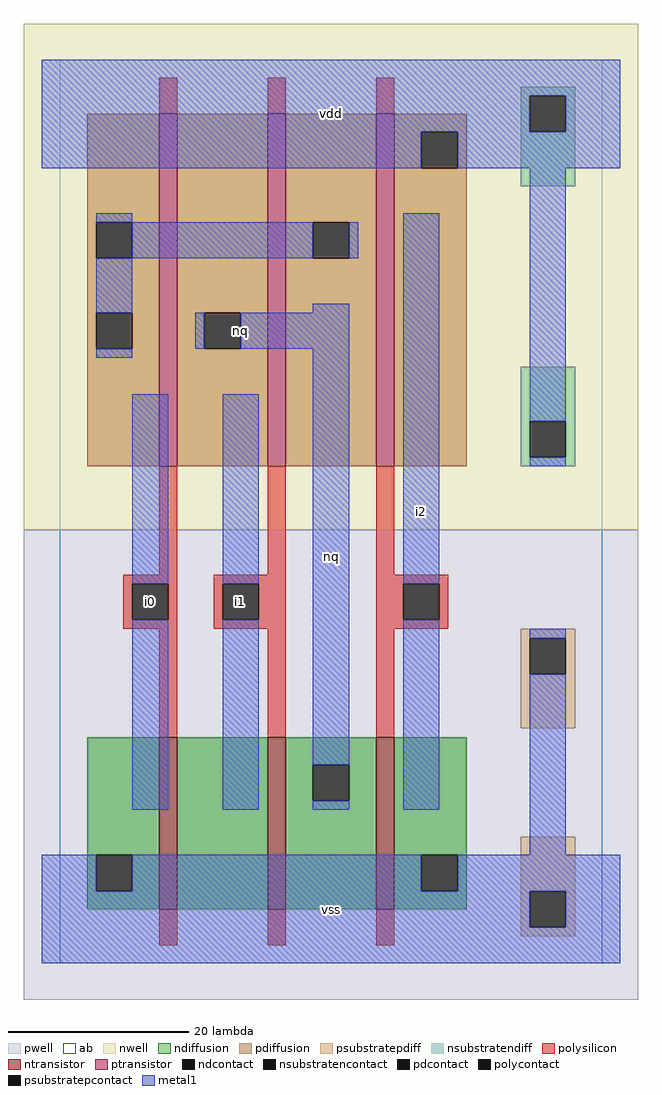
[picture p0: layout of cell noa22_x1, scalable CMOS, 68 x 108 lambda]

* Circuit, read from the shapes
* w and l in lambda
.subckt noa22_x1 i0 i1 i2 nq vdd vss
M1 n1 i0 vss vss nfet w=19 l=2
M2 nq i1 n1 vss nfet w=19 l=2
M3 vss i2 nq vss nfet w=19 l=2
M4 nq i0 n2 vdd pfet w=39 l=2
M5 n2 i1 nq vdd pfet w=39 l=2
M6 vdd i2 n2 vdd pfet w=39 l=2
.ends

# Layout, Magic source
magic
tech scmos
<< ab >>
rect 0 0 60 100
<< pwell >>
rect -4 -4 64 48
<< nwell >>
rect -4 48 64 104
<< polysilicon >>
rect 11 94 13 98
rect 23 94 25 98
rect 35 94 37 98
rect 11 43 13 55
rect 23 43 25 55
rect 7 42 13 43
rect 7 38 8 42
rect 12 38 13 42
rect 7 37 13 38
rect 17 42 25 43
rect 17 38 18 42
rect 22 38 25 42
rect 17 37 25 38
rect 11 25 13 37
rect 23 25 25 37
rect 35 43 37 55
rect 35 42 43 43
rect 35 38 38 42
rect 42 38 43 42
rect 35 37 43 38
rect 35 25 37 37
rect 11 2 13 6
rect 23 2 25 6
rect 35 2 37 6
<< ndiffusion >>
rect 3 12 11 25
rect 3 8 4 12
rect 8 8 11 12
rect 3 6 11 8
rect 13 6 23 25
rect 25 22 35 25
rect 25 18 28 22
rect 32 18 35 22
rect 25 6 35 18
rect 37 12 45 25
rect 37 8 40 12
rect 44 8 45 12
rect 37 6 45 8
<< pdiffusion >>
rect 3 82 11 94
rect 3 78 4 82
rect 8 78 11 82
rect 3 72 11 78
rect 3 68 4 72
rect 8 68 11 72
rect 3 55 11 68
rect 13 72 23 94
rect 13 68 16 72
rect 20 68 23 72
rect 13 55 23 68
rect 25 82 35 94
rect 25 78 28 82
rect 32 78 35 82
rect 25 55 35 78
rect 37 92 45 94
rect 37 88 40 92
rect 44 88 45 92
rect 37 55 45 88
<< metal1 >>
rect -2 96 62 100
rect -2 92 52 96
rect 56 92 62 96
rect -2 88 40 92
rect 44 88 62 92
rect 4 82 8 83
rect 8 78 28 82
rect 32 78 33 82
rect 4 72 8 78
rect 28 72 32 73
rect 15 68 16 72
rect 20 68 32 72
rect 4 67 8 68
rect 8 42 12 63
rect 8 17 12 38
rect 18 42 22 63
rect 18 17 22 38
rect 28 22 32 68
rect 28 17 32 18
rect 38 42 42 83
rect 52 60 56 88
rect 52 55 56 56
rect 38 17 42 38
rect 52 36 56 37
rect 52 12 56 32
rect -2 8 4 12
rect 8 8 40 12
rect 44 8 62 12
rect -2 4 52 8
rect 56 4 62 8
rect -2 0 62 4
<< ntransistor >>
rect 11 6 13 25
rect 23 6 25 25
rect 35 6 37 25
<< ptransistor >>
rect 11 55 13 94
rect 23 55 25 94
rect 35 55 37 94
<< polycontact >>
rect 8 38 12 42
rect 18 38 22 42
rect 38 38 42 42
<< ndcontact >>
rect 4 8 8 12
rect 28 18 32 22
rect 40 8 44 12
<< pdcontact >>
rect 4 78 8 82
rect 4 68 8 72
rect 16 68 20 72
rect 28 78 32 82
rect 40 88 44 92
<< psubstratepcontact >>
rect 52 32 56 36
rect 52 4 56 8
<< nsubstratencontact >>
rect 52 92 56 96
rect 52 56 56 60
<< psubstratepdiff >>
rect 51 36 57 37
rect 51 32 52 36
rect 56 32 57 36
rect 51 26 57 32
rect 51 8 57 14
rect 51 4 52 8
rect 56 4 57 8
rect 51 3 57 4
<< nsubstratendiff >>
rect 51 96 57 97
rect 51 92 52 96
rect 56 92 57 96
rect 51 86 57 92
rect 51 60 57 66
rect 51 56 52 60
rect 56 56 57 60
rect 51 55 57 56
<< labels >>
rlabel polycontact 10 40 10 40 6 i0
rlabel polycontact 20 40 20 40 6 i1
rlabel metal1 20 70 20 70 6 nq
rlabel metal1 30 6 30 6 6 vss
rlabel metal1 30 45 30 45 6 nq
rlabel metal1 40 50 40 50 6 i2
rlabel metal1 30 94 30 94 6 vdd
<< end >>
